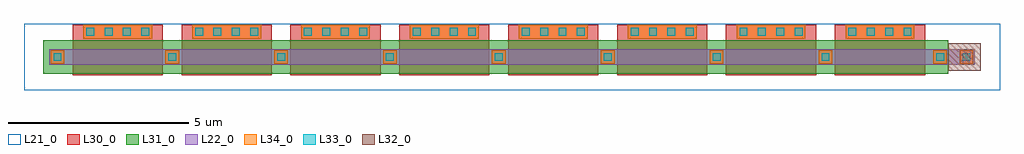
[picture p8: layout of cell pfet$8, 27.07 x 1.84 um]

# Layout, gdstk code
import gdstk
lib = gdstk.Library(unit=1e-6, precision=5e-09)
def R(c, l, rs):  # rectangles x0, y0, x1, y1
    for r in rs: c.add(gdstk.rectangle(r[:2], r[2:], *l))
def A(c, l, x, y, w, h, nx, ny, dx, dy):  # array of equal rectangles
    R(c, l, [(x+i*dx, y+j*dy, x+i*dx+w, y+j*dy+h) for i in range(nx) for j in range(ny)])
L21_0 = (21, 0)
L22_0 = (22, 0)
L30_0 = (30, 0)
L31_0 = (31, 0)
L32_0 = (32, 0)
L33_0 = (33, 0)
L34_0 = (34, 0)

pfet_8 = lib.new_cell('pfet$8')
R(pfet_8, L21_0, [(-1.16,-0.71,25.91,1.13)])
R(pfet_8, L22_0, [(-0.46,-0.01,0,0.43), (24.02,-0.01,24.48,0.43), (24.48,-0.01,25.21,0.43), (0,0,24.02,0.42)])
A(pfet_8, L30_0, 0.19, -0.3, 2.5, 1.02, 8, 1, 3.02, 0)
A(pfet_8, L30_0, 0.19, 0.72, 2.5, 0.38, 8, 1, 3.02, 0)
R(pfet_8, L31_0, [(-0.63,-0.25,24.48,0.67)])
R(pfet_8, L32_0, [(24.48,-0.17,25.38,0.59)])
A(pfet_8, L33_0, 2.84, 0.1, 0.22, 0.22, 7, 1, 3.02, 0)
A(pfet_8, L33_0, 0.565, 0.8, 0.22, 0.22, 4, 1, 0.51, 0)
A(pfet_8, L33_0, 3.585, 0.8, 0.22, 0.22, 4, 1, 0.51, 0)
A(pfet_8, L33_0, 6.605, 0.8, 0.22, 0.22, 4, 1, 0.51, 0)
A(pfet_8, L33_0, 9.625, 0.8, 0.22, 0.22, 4, 1, 0.51, 0)
A(pfet_8, L33_0, 12.645, 0.8, 0.22, 0.22, 4, 1, 0.51, 0)
A(pfet_8, L33_0, 15.665, 0.8, 0.22, 0.22, 4, 1, 0.51, 0)
A(pfet_8, L33_0, 18.685, 0.8, 0.22, 0.22, 4, 1, 0.51, 0)
A(pfet_8, L33_0, 21.705, 0.8, 0.22, 0.22, 4, 1, 0.51, 0)
R(pfet_8, L33_0, [(-0.34,0.1,-0.12,0.32), (24.14,0.1,24.36,0.32), (24.87,0.1,25.09,0.32)])
A(pfet_8, L34_0, 2.76, 0.02, 0.38, 0.38, 7, 1, 3.02, 0)
A(pfet_8, L34_0, 0.485, 0.72, 1.91, 0.38, 8, 1, 3.02, 0)
R(pfet_8, L34_0, [(-0.42,0.02,-0.04,0.4), (24.06,0.02,24.44,0.4), (24.79,0.02,25.17,0.4)])

lib.write_gds('pfet_8.gds')
